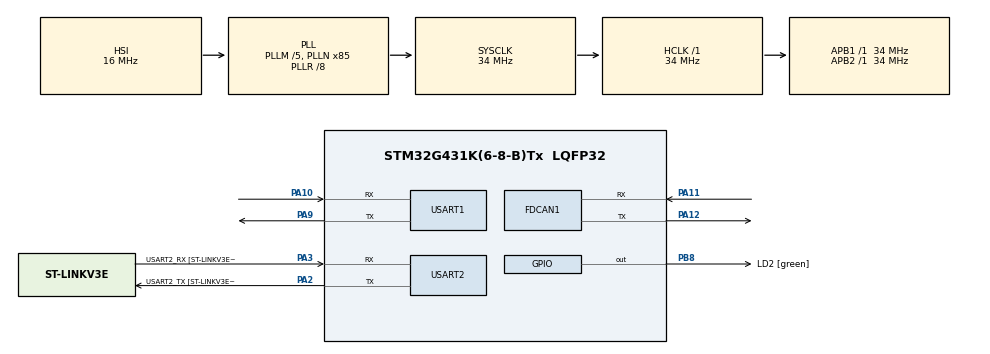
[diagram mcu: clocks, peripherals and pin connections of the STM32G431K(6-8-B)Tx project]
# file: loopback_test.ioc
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FDCAN1.AutoRetransmission=ENABLE
FDCAN1.CalculateBaudRateNominal=1000000
FDCAN1.CalculateTimeBitNominal=1000
FDCAN1.CalculateTimeQuantumNominal=58.8235294117647
FDCAN1.DataPrescaler=2
FDCAN1.DataTimeSeg1=14
FDCAN1.DataTimeSeg2=2
FDCAN1.ExtFiltersNbr=4
FDCAN1.FrameFormat=FDCAN_FRAME_FD_BRS
FDCAN1.Mode=FDCAN_MODE_INTERNAL_LOOPBACK
FDCAN1.NominalPrescaler=2
FDCAN1.NominalTimeSeg1=14
FDCAN1.StdFiltersNbr=14
Mcu.Family=STM32G4
Mcu.Name=STM32G431K(6-8-B)Tx
Mcu.Package=LQFP32
NVIC.PriorityGroup=NVIC_PRIORITYGROUP_4
PA10.Mode=Asynchronous
PA10.Signal=USART1_RX
PA11.Mode=FDCAN_Activate
PA11.Signal=FDCAN1_RX
PA12.Mode=FDCAN_Activate
PA12.Signal=FDCAN1_TX
PA13.GPIO_Label=T_SWDIO
PA13.Mode=Serial_Wire
PA13.Signal=SYS_JTMS-SWDIO
PA14.GPIO_Label=T_SWCLK
PA14.Mode=Serial_Wire
PA14.Signal=SYS_JTCK-SWCLK
PA2.GPIO_Label=USART2_TX [ST-LINKV3E_VCP_RX]
PA2.Mode=Asynchronous
PA2.Signal=USART2_TX
PA3.GPIO_Label=USART2_RX [ST-LINKV3E_VCP_TX]
PA3.Mode=Asynchronous
PA3.Signal=USART2_RX
PA9.Mode=Asynchronous
PA9.Signal=USART1_TX
PB3.GPIO_Label=T_SWO
PB3.Signal=SYS_JTDO-SWO
PB8-BOOT0.GPIO_Label=LD2 [green]
PB8-BOOT0.Signal=GPIO_Output
ProjectManager.HeapSize=0x200
ProjectManager.StackSize=0x400
ProjectManager.TargetToolchain=STM32CubeIDE
RCC.ADC12Freq_Value=34000000
RCC.AHBFreq_Value=34000000
RCC.APB1Freq_Value=34000000
RCC.APB1TimFreq_Value=34000000
RCC.APB2Freq_Value=34000000
RCC.APB2TimFreq_Value=34000000
RCC.CortexFreq_Value=34000000
RCC.EXTERNAL_CLOCK_VALUE=12288000
RCC.HCLKFreq_Value=34000000
RCC.HSE_VALUE=8000000
RCC.HSI48_VALUE=48000000
RCC.HSI_VALUE=16000000
RCC.LSE_VALUE=32768
RCC.PLLM=RCC_PLLM_DIV5
RCC.PLLN=85
RCC.PLLR=RCC_PLLR_DIV8
RCC.SYSCLKFreq_VALUE=34000000
RCC.SYSCLKSource=RCC_SYSCLKSOURCE_PLLCLK
RCC.USBFreq_Value=136000000
RCC.VCOOutputFreq_Value=272000000
USART1.VirtualMode-Asynchronous=VM_ASYNC
USART2.VirtualMode-Asynchronous=VM_ASYNC
USART2.WordLength=WORDLENGTH_8B
board=NUCLEO-G431KB

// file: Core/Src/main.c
/* USER CODE BEGIN Header */
/**
  ******************************************************************************
  * @file           : main.c
  * @brief          : Main program body
  ******************************************************************************
  * @attention
  *
  * Copyright (c) 2024 STMicroelectronics.
  * All rights reserved.
  *
  * This software is licensed under terms that can be found in the LICENSE file
  * in the root directory of this software component.
  * If no LICENSE file comes with this software, it is provided AS-IS.
  *
  ******************************************************************************
  */
/* USER CODE END Header */
#include "main.h"

/* USER CODE BEGIN Includes */
#include <stdio.h>
#include <string.h>
/* USER CODE END Includes */

FDCAN_HandleTypeDef hfdcan1;

UART_HandleTypeDef huart1;
UART_HandleTypeDef huart2;

void SystemClock_Config(void);
static void MX_GPIO_Init(void);
static void MX_USART2_UART_Init(void);
static void MX_FDCAN1_Init(void);
static void MX_USART1_UART_Init(void);

/* USER CODE BEGIN 0 */
char * txData="trxd\r\n";
char * rxData="rcvd\r\n";
char msg[50];

void FDCAN1_Tx(void)
{
	FDCAN_TxHeaderTypeDef  TxHeader;
	uint32_t TxMailBox;
	uint8_t my_message[12] = {'F','D','C','A','N',' ','T','E','S','T','!','!'};

    TxHeader.Identifier = 0x111;             // 메시지 ID
    TxHeader.IdType = FDCAN_STANDARD_ID;   // 표준 ID 사용
    TxHeader.TxFrameType = FDCAN_DATA_FRAME;  // 데이터 프레임
    TxHeader.DataLength = FDCAN_DLC_BYTES_12;  // 데이터 길이: 1 바이트
    TxHeader.ErrorStateIndicator = FDCAN_ESI_ACTIVE;
    TxHeader.BitRateSwitch = FDCAN_BRS_ON;
    TxHeader.FDFormat = FDCAN_FD_CAN;
    TxHeader.TxEventFifoControl = FDCAN_NO_TX_EVENTS;
    TxHeader.MessageMarker = 0;

    if (HAL_FDCAN_AddMessageToTxFifoQ(&hfdcan1, &TxHeader, my_message) != HAL_OK) {
        Error_Handler();
    }
	while(HAL_FDCAN_IsTxBufferMessagePending(&hfdcan1,TxMailBox));        // 선택된 Tx 메일박스에 전송요청이 pending 되었는지를 체크
									// 0리턴시 펜딩된 것이 없음. 1리턴시 최소 1개이상 펜딩되어있음
									// 0리턴시 탈출(=전송요청이 처리된 것)
	sprintf(msg, "Message Transmitted\r\n");
	HAL_UART_Transmit(&huart1,(uint8_t *)msg,strlen(msg),HAL_MAX_DELAY);
}

void FDCAN1_Rx()
{
	FDCAN_RxHeaderTypeDef Rxheader ;
	uint8_t rcvd_msg[12];
	char rxMsg[50];

	while(! HAL_FDCAN_GetRxFifoFillLevel(&hfdcan1, FDCAN_RX_FIFO0));

	if( HAL_FDCAN_GetRxMessage(&hfdcan1, FDCAN_RX_FIFO0, &Rxheader, rcvd_msg ) != HAL_OK)
	{
		Error_Handler();
	}
	sprintf(rxMsg, "Message Received %s\r\n",rcvd_msg);
	HAL_UART_Transmit(&huart1,(uint8_t *)rxMsg,strlen(rxMsg),HAL_MAX_DELAY);
}

/* USER CODE END 0 */

int main(void)
{

  /* MCU Configuration--------------------------------------------------------*/

  /* Reset of all peripherals, Initializes the Flash interface and the Systick. */
  HAL_Init();

  /* Configure the system clock */
  SystemClock_Config();

  /* Initialize all configured peripherals */
  MX_GPIO_Init();
  MX_USART2_UART_Init();
  MX_FDCAN1_Init();
  MX_USART1_UART_Init();
  /* USER CODE BEGIN 2 */

  FDCAN_FilterTypeDef sFilterConfig;

  sFilterConfig.IdType = FDCAN_STANDARD_ID;
  sFilterConfig.FilterIndex = 0;
  sFilterConfig.FilterType = FDCAN_FILTER_MASK;
  sFilterConfig.FilterConfig = FDCAN_FILTER_TO_RXFIFO0;
	sFilterConfig.FilterID1 = 0x0;
	sFilterConfig.FilterID2 = 0x0F;

  if (HAL_FDCAN_ConfigFilter(&hfdcan1, &sFilterConfig) != HAL_OK)
  {
  }

  /* USER CODE END 2 */

  /* Infinite loop */
  /* USER CODE BEGIN WHILE */
  while (1)
  {

	  HAL_FDCAN_Start(&hfdcan1);
	  FDCAN1_Tx();
	  FDCAN1_Rx();
//	  HAL_UART_Transmit(&huart1,(uint8_t *)txData,6,HAL_MAX_DELAY);

//	  CAN1_Rx();

//	  HAL_UART_Transmit(&huart1,(uint8_t *)rxData,6,HAL_MAX_DELAY);
//	  HAL_GPIO_TogglePin(GPIOB, GPIO_PIN_8);

	  while(1);

	  return 0;
    /* USER CODE END WHILE */

  }
}

void SystemClock_Config(void)
{
  RCC_OscInitTypeDef RCC_OscInitStruct = {0};
  RCC_ClkInitTypeDef RCC_ClkInitStruct = {0};

  /** Configure the main internal regulator output voltage
  */
  HAL_PWREx_ControlVoltageScaling(PWR_REGULATOR_VOLTAGE_SCALE1);

  /** Initializes the RCC Oscillators according to the specified parameters
  * in the RCC_OscInitTypeDef structure.
  */
  RCC_OscInitStruct.OscillatorType = RCC_OSCILLATORTYPE_HSI;
  RCC_OscInitStruct.HSIState = RCC_HSI_ON;
  RCC_OscInitStruct.HSICalibrationValue = RCC_HSICALIBRATION_DEFAULT;
  RCC_OscInitStruct.PLL.PLLState = RCC_PLL_ON;
  RCC_OscInitStruct.PLL.PLLSource = RCC_PLLSOURCE_HSI;
  RCC_OscInitStruct.PLL.PLLM = RCC_PLLM_DIV5;
  RCC_OscInitStruct.PLL.PLLN = 85;
  RCC_OscInitStruct.PLL.PLLP = RCC_PLLP_DIV2;
  RCC_OscInitStruct.PLL.PLLQ = RCC_PLLQ_DIV2;
  RCC_OscInitStruct.PLL.PLLR = RCC_PLLR_DIV8;
  if (HAL_RCC_OscConfig(&RCC_OscInitStruct) != HAL_OK)
  {
    Error_Handler();
  }

  /** Initializes the CPU, AHB and APB buses clocks
  */
  RCC_ClkInitStruct.ClockType = RCC_CLOCKTYPE_HCLK|RCC_CLOCKTYPE_SYSCLK
                              |RCC_CLOCKTYPE_PCLK1|RCC_CLOCKTYPE_PCLK2;
  RCC_ClkInitStruct.SYSCLKSource = RCC_SYSCLKSOURCE_PLLCLK;
  RCC_ClkInitStruct.AHBCLKDivider = RCC_SYSCLK_DIV1;
  RCC_ClkInitStruct.APB1CLKDivider = RCC_HCLK_DIV1;
  RCC_ClkInitStruct.APB2CLKDivider = RCC_HCLK_DIV1;

  if (HAL_RCC_ClockConfig(&RCC_ClkInitStruct, FLASH_LATENCY_1) != HAL_OK)
  {
    Error_Handler();
  }
}

static void MX_FDCAN1_Init(void)
{

  hfdcan1.Instance = FDCAN1;
  hfdcan1.Init.ClockDivider = FDCAN_CLOCK_DIV1;
  hfdcan1.Init.FrameFormat = FDCAN_FRAME_FD_BRS;
  hfdcan1.Init.Mode = FDCAN_MODE_INTERNAL_LOOPBACK;
  hfdcan1.Init.AutoRetransmission = ENABLE;
  hfdcan1.Init.TransmitPause = DISABLE;
  hfdcan1.Init.ProtocolException = DISABLE;
  hfdcan1.Init.NominalPrescaler = 2;
  hfdcan1.Init.NominalSyncJumpWidth = 1;
  hfdcan1.Init.NominalTimeSeg1 = 14;
  hfdcan1.Init.NominalTimeSeg2 = 2;
  hfdcan1.Init.DataPrescaler = 2;
  hfdcan1.Init.DataSyncJumpWidth = 1;
  hfdcan1.Init.DataTimeSeg1 = 14;
  hfdcan1.Init.DataTimeSeg2 = 2;
  hfdcan1.Init.StdFiltersNbr = 14;
  hfdcan1.Init.ExtFiltersNbr = 4;
  hfdcan1.Init.TxFifoQueueMode = FDCAN_TX_FIFO_OPERATION;
  if (HAL_FDCAN_Init(&hfdcan1) != HAL_OK)
  {
    Error_Handler();
  }

}

static void MX_USART1_UART_Init(void)
{

  huart1.Instance = USART1;
  huart1.Init.BaudRate = 115200;
  huart1.Init.WordLength = UART_WORDLENGTH_8B;
  huart1.Init.StopBits = UART_STOPBITS_1;
  huart1.Init.Parity = UART_PARITY_NONE;
  huart1.Init.Mode = UART_MODE_TX_RX;
  huart1.Init.HwFlowCtl = UART_HWCONTROL_NONE;
  huart1.Init.OverSampling = UART_OVERSAMPLING_16;
  huart1.Init.OneBitSampling = UART_ONE_BIT_SAMPLE_DISABLE;
  huart1.Init.ClockPrescaler = UART_PRESCALER_DIV1;
  huart1.AdvancedInit.AdvFeatureInit = UART_ADVFEATURE_NO_INIT;
  if (HAL_UART_Init(&huart1) != HAL_OK)
  {
    Error_Handler();
  }
  if (HAL_UARTEx_SetTxFifoThreshold(&huart1, UART_TXFIFO_THRESHOLD_1_8) != HAL_OK)
  {
    Error_Handler();
  }
  if (HAL_UARTEx_SetRxFifoThreshold(&huart1, UART_RXFIFO_THRESHOLD_1_8) != HAL_OK)
  {
    Error_Handler();
  }
  if (HAL_UARTEx_DisableFifoMode(&huart1) != HAL_OK)
  {
    Error_Handler();
  }

}

static void MX_USART2_UART_Init(void)
{

  huart2.Instance = USART2;
  huart2.Init.BaudRate = 115200;
  huart2.Init.WordLength = UART_WORDLENGTH_8B;
  huart2.Init.StopBits = UART_STOPBITS_1;
  huart2.Init.Parity = UART_PARITY_NONE;
  huart2.Init.Mode = UART_MODE_TX_RX;
  huart2.Init.HwFlowCtl = UART_HWCONTROL_NONE;
  huart2.Init.OverSampling = UART_OVERSAMPLING_16;
  huart2.Init.OneBitSampling = UART_ONE_BIT_SAMPLE_DISABLE;
  huart2.Init.ClockPrescaler = UART_PRESCALER_DIV1;
  huart2.AdvancedInit.AdvFeatureInit = UART_ADVFEATURE_NO_INIT;
  if (HAL_UART_Init(&huart2) != HAL_OK)
  {
    Error_Handler();
  }
  if (HAL_UARTEx_SetTxFifoThreshold(&huart2, UART_TXFIFO_THRESHOLD_1_8) != HAL_OK)
  {
    Error_Handler();
  }
  if (HAL_UARTEx_SetRxFifoThreshold(&huart2, UART_RXFIFO_THRESHOLD_1_8) != HAL_OK)
  {
    Error_Handler();
  }
  if (HAL_UARTEx_DisableFifoMode(&huart2) != HAL_OK)
  {
    Error_Handler();
  }

}

static void MX_GPIO_Init(void)
{
  GPIO_InitTypeDef GPIO_InitStruct = {0};

  /* GPIO Ports Clock Enable */
  __HAL_RCC_GPIOA_CLK_ENABLE();
  __HAL_RCC_GPIOB_CLK_ENABLE();

  /*Configure GPIO pin Output Level */
  HAL_GPIO_WritePin(LD2_GPIO_Port, LD2_Pin, GPIO_PIN_RESET);

  /*Configure GPIO pin : LD2_Pin */
  GPIO_InitStruct.Pin = LD2_Pin;
  GPIO_InitStruct.Mode = GPIO_MODE_OUTPUT_PP;
  GPIO_InitStruct.Pull = GPIO_NOPULL;
  GPIO_InitStruct.Speed = GPIO_SPEED_FREQ_LOW;
  HAL_GPIO_Init(LD2_GPIO_Port, &GPIO_InitStruct);

}

void Error_Handler(void)
{
  __disable_irq();
  while (1)
  {
  }
}
